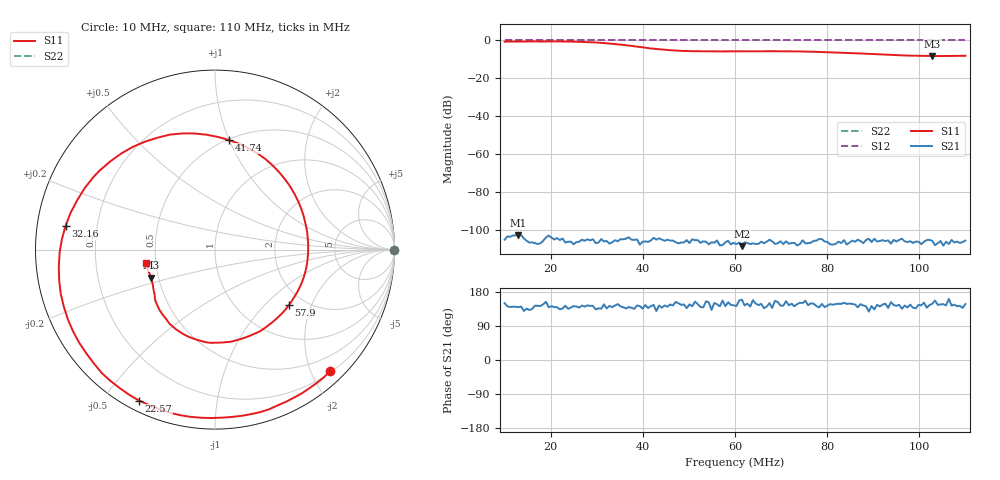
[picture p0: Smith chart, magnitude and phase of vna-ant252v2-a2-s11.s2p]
! Anritsu VNA Master:  Model: MS2034B/10/19/501
! SN:  1337062
! /bd0/ovro-jan-2016/ant252v2-a2-s11.s2p
! Existing Calibration Information:
! TYPE:  Current Settings,  Active Cal Settings
! TIME:  01/14/2016 04:57:29 PM,  01/14/2016 04:54:38 PM
! INTERNAL TEMP:  39.3 C,  38.5 C
! # POINTS:  168,  500
! START FREQ:  10.000 MHz,  10.000 MHz
! STOP FREQ:  110.000 MHz,  110.000 MHz
! SOURCE POWER:  High,  High
! IFBW:  100 Hz,  100 Hz
! AVG FACTOR:  4 ,  4
! REF PLANE 1:  0 mm,  0 mm
! REF PLANE 2:  0 mm,  0 mm
! CAL TYPE:  Full S11,  Full S11
! CAL METHOD:  SOLT,  SOLT
! CAL LINE TYPE:  Coax,  Coax
! DUT PORT 1:  K-Conn(M),  K-Conn(M)
! DUT PORT 2:  N-Conn(M),  N-Conn(M)
! CAL STATUS:  OK: Accuracy High,  --
# GHZ S DB R 50.0
! FREQ.GHZ  S11DB  S11A  S21DB  S21A  S12DB  S12A  S22DB  S22A
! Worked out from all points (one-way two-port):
!   168 points, 10 MHz to 110 MHz, reference 50 ohm
!   highest |S21| = -102.68 dB at 12.99 MHz (marker M1); lowest = -108.6 dB at 61.5 MHz (marker M2)
!   lowest |S11| = -8.2 dB at 102.8 MHz (marker M3), VSWR 2.26, Z = 22.9 - j8.44 ohm
!   |S11| at or under -10 dB: nowhere
!   |S22| runs from 0.0 to 0.0 dB; largest |S21 - S12| = 1
!   S11 on the Smith chart (normalised r, x): 10 MHz: 0.23, -2.31; 22.57 MHz: 0.04, -0.62; 32.16 MHz: 0.09, +0.08; 41.74 MHz: 0.51, +1.00; 57.9 MHz: 1.66, -1.40; 110 MHz: 0.44, -0.08
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0.01  -0.62 -46.5  -105.18 150.0  0.00 0.0  0.00 0.0
0.01299401  -0.59 -61.6  -102.68 139.5  0.00 0.0  0.00 0.0
0.01838323  -0.55 -91.2  -105.67 147.2  0.00 0.0  0.00 0.0
0.02257485  -0.52 -116.7  -104.53 135.7  0.00 0.0  0.00 0.0
0.02676647  -0.75 -145.6  -105.11 143.6  0.00 0.0  0.00 0.0
0.02976048  -1.06 -168.8  -106.89 133.5  0.00 0.0  0.00 0.0
0.03215569  -1.48 171.0  -105.85 136.2  0.00 0.0  0.00 0.0
0.0345509  -2.06 149.3  -105.99 147.5  0.00 0.0  0.00 0.0
0.03694611  -2.70 128.7  -103.86 139.8  0.00 0.0  0.00 0.0
0.03934132  -3.45 105.7  -107.77 142.4  0.00 0.0  0.00 0.0
0.04173653  -4.21 82.8  -105.53 142.1  0.00 0.0  0.00 0.0
0.04353293  -4.64 66.2  -104.40 144.0  0.00 0.0  0.00 0.0
0.04652695  -5.24 40.1  -105.61 143.9  0.00 0.0  0.00 0.0
0.05011976  -5.63 11.4  -106.92 146.9  0.00 0.0  0.00 0.0
0.05790419  -5.76 -37.0  -106.53 142.0  0.00 0.0  0.00 0.0
0.0602994  -5.76 -49.0  -107.51 142.2  0.00 0.0  0.00 0.0
0.06149701  -5.75 -54.5  -108.56 159.2  0.00 0.0  0.00 0.0
0.06808383  -5.67 -80.6  -106.00 137.3  0.00 0.0  0.00 0.0
0.07706587  -5.96 -109.7  -105.79 148.6  0.00 0.0  0.00 0.0
0.09383234  -7.64 -145.0  -107.24 152.7  0.00 0.0  0.00 0.0
0.1028144  -8.24 -156.1  -105.74 148.4  0.00 0.0  0.00 0.0
0.11  -8.08 -168.8  -105.63 147.6  0.00 0.0  0.00 0.0
